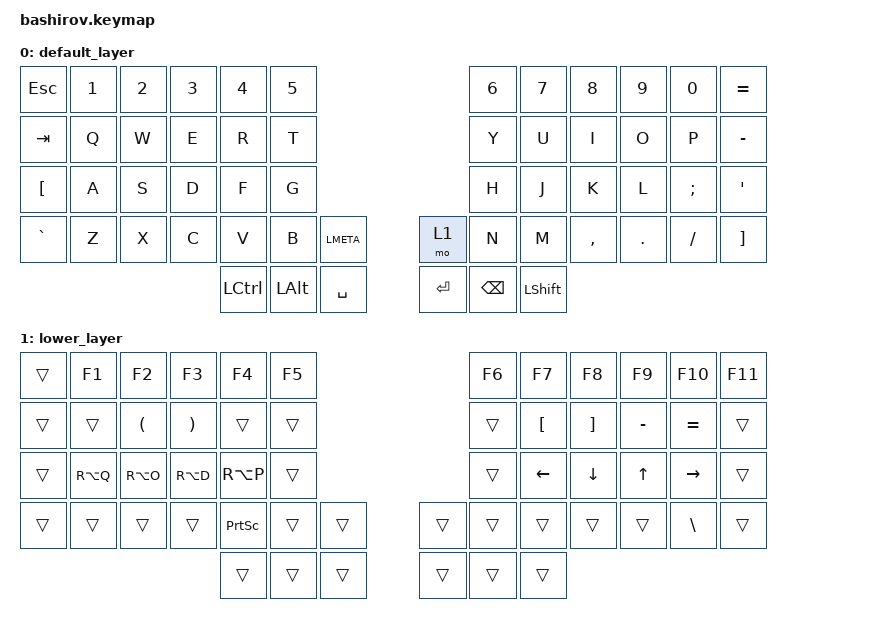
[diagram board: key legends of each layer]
#include <behaviors.dtsi>
#include <dt-bindings/zmk/keys.h>

/ {
    keymap {
        compatible = "zmk,keymap";

        default_layer {
            // ---------------------------------------------------------------------------------
            // | ESC  |  1  |  2  |  3  |  4  |  9  |     |  6  |  7  |  8  |  9  |  0  -----------| BKSP |
            // | TAB  |  Q  |  W  |  F  |  P  |  G  |     |  J  |  U  |  Y  |  ;  |  P  |  \   |
            // | CAPS |  A  |  R  |  S  |  T  |  D  |     |  N  |  E  |  I  |  O  |  ;  |  ENT |
            // |   `  |  Z  |  X  |  C  |  V  |  B  |     |  K  |  M  |  ,  |  .  |  /  | APOS |
            // | CTRL | ALT | GUI | SPC | SPC |SHIFT |     | SPC | LOW |LARW |DARW |UARW | RARW |

            bindings = <
&kp ESC               &kp N1                &kp N2             &kp N3             &kp N4            &kp N5                               &kp N6  &kp N7  &kp N8     &kp N9   &kp N0    &kp EQUAL
&kp TAB               &kp Q                 &kp W              &kp E              &kp R             &kp T                                &kp Y   &kp U   &kp I      &kp O    &kp P     &kp MINUS
&kp LBKT              &kp A                 &kp S              &kp D              &kp F             &kp G                                &kp H   &kp J   &kp K      &kp L    &kp SEMI  &kp SQT
&kp GRAVE             &kp Z                 &kp X              &kp C              &kp V             &kp B              &kp LMETA  &mo 1  &kp N   &kp M   &kp COMMA  &kp DOT  &kp FSLH  &kp RBKT
           &kp LCTRL          &kp LEFT_ALT          &kp SPACE          &kp ENTER          &kp BSPC          &kp LSHFT
            >;
        };

        lower_layer {
            // ------------------------------------------------------------------------------------------------------------
            // |       |  BT1  |  BT2  |  BT3  |  BT4  |  BT5  |          |       |       |       |       |       | BTCLR |
            // |       |       |       |       |       |       |          |       |       |       |       |       |       |
            // |       |       |       | LPAR  | RPAR  |       |          |       | LBKT  | RBKT  |       |       |       |
            // |       |       |       |       |       |       |          |       |       |       |       |       |       |

            bindings = <
&trans          &kp F1             &kp F2             &kp F3             &kp F4             &kp F5                          &kp F6  &kp F7    &kp F8    &kp F9     &kp F10    &kp F11
&trans          &trans             &kp LPAR           &kp RPAR           &trans             &trans                          &trans  &kp LBKT  &kp RBKT  &kp MINUS  &kp EQUAL  &trans
&trans          &kp RA(Q)          &kp RA(O)          &kp RA(D)          &kp RA(P)          &trans                          &trans  &kp LEFT  &kp DOWN  &kp UP     &kp RIGHT  &trans
&trans          &trans             &trans             &trans             &kp PSCRN          &trans          &trans  &trans  &trans  &trans    &trans    &trans     &kp BSLH   &trans
        &trans             &trans             &trans             &trans             &trans          &trans
            >;
        };
    };
};
